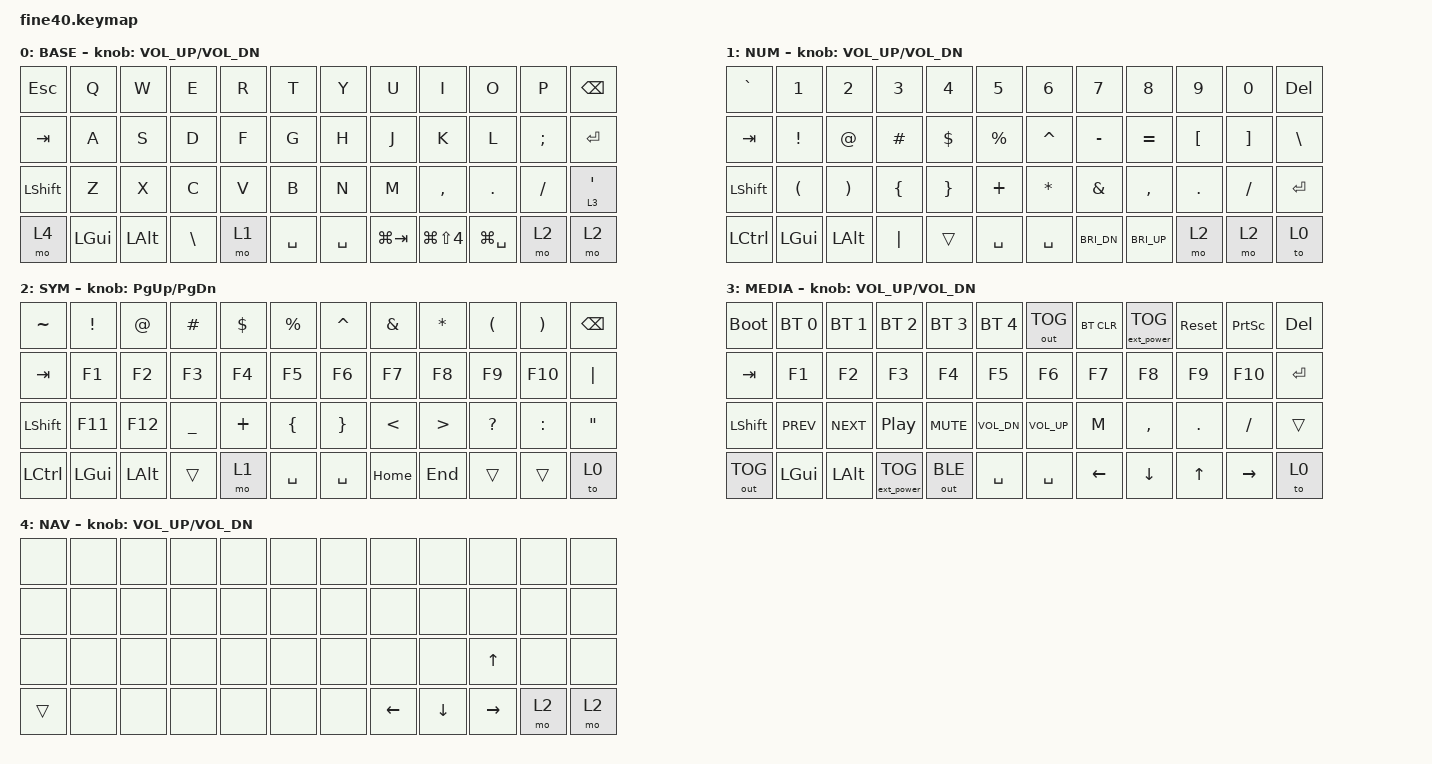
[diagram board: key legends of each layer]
/*
 * Aidan Smith (2021)
 * Enhanced for Mochi40 - FINAL PERFECT 10-KEY BOTTOM ROW MATRIX
 * SPDX-License-Identifier: MIT
 */

#include <behaviors.dtsi>
#include <dt-bindings/zmk/bt.h>
#include <dt-bindings/zmk/ext_power.h>
#include <dt-bindings/zmk/keys.h>
#include <dt-bindings/zmk/outputs.h>

/ {
    keymap {
        compatible = "zmk,keymap";

        default_layer {
            display-name = "BASE";
            bindings = <
&kp ESC    &kp Q     &kp W     &kp E      &kp R    &kp T      &kp Y          &kp U        &kp I            &kp O          &kp P     &kp BSPC
&kp TAB    &kp A     &kp S     &kp D      &kp F    &kp G      &kp H          &kp J        &kp K            &kp L          &kp SEMI  &kp RET
&kp LSHFT  &kp Z     &kp X     &kp C      &kp V    &kp B      &kp N          &kp M        &kp COMMA        &kp DOT        &kp FSLH  &lt 3 SQT
&mo 4      &kp LGUI  &kp LALT  &kp BSLH   &mo 1    &kp SPACE  &kp SPACE      &kp LG(TAB)  &kp LG(LS(N4))   &kp LG(SPACE)  &mo 2     &mo 2
            >;
            sensor-bindings = <&inc_dec_kp C_VOL_UP C_VOL_DN>;
        };

        lower_layer {
            display-name = "NUM";
            bindings = <
&kp GRAVE  &kp N1    &kp N2    &kp N3     &kp N4   &kp N5     &kp N6       &kp N7       &kp N8       &kp N9        &kp N0    &kp DEL
&kp TAB    &kp EXCL  &kp AT    &kp HASH   &kp DLLR &kp PRCNT  &kp CARET    &kp MINUS    &kp EQUAL    &kp LBKT      &kp RBKT  &kp BSLH
&kp LSHFT  &kp LPAR  &kp RPAR  &kp LBRC   &kp RBRC &kp PLUS   &kp STAR     &kp AMPS     &kp COMMA    &kp DOT       &kp FSLH  &kp RET
&kp LCTRL  &kp LGUI  &kp LALT  &kp PIPE   &trans   &kp SPACE  &kp SPACE    &kp C_BRI_DN &kp C_BRI_UP &mo 2         &mo 2     &to 0
            >;
            sensor-bindings = <&inc_dec_kp C_VOL_UP C_VOL_DN>;
        };

        raise_layer {
            display-name = "SYM";
            bindings = <
&kp TILDE   &kp EXCL  &kp AT    &kp HASH   &kp DLLR  &kp PRCNT  &kp CARET  &kp AMPS  &kp STAR   &kp LPAR   &kp RPAR  &kp BSPC
&kp TAB     &kp F1    &kp F2    &kp F3     &kp F4    &kp F5     &kp F6     &kp F7    &kp F8     &kp F9     &kp F10   &kp PIPE
&kp LSHFT   &kp F11   &kp F12   &kp UNDER  &kp PLUS  &kp LBRC   &kp RBRC   &kp LT    &kp GT     &kp QMARK  &kp COLON &kp DQT
&kp LCTRL   &kp LGUI  &kp LALT  &trans     &mo 1     &kp SPACE  &kp SPACE  &kp HOME  &kp END    &trans     &trans    &to 0
            >;
            sensor-bindings = <&inc_dec_kp PG_UP PG_DN>;
        };

        control_layer {
            display-name = "MEDIA";
            bindings = <
&bootloader   &bt BT_SEL 0  &bt BT_SEL 1  &bt BT_SEL 2       &bt BT_SEL 3  &bt BT_SEL 4  &out OUT_TOG &bt BT_CLR  &ext_power EP_TOG &sys_reset  &kp PSCRN &kp DEL
&kp TAB       &kp F1        &kp F2        &kp F3             &kp F4        &kp F5        &kp F6       &kp F7      &kp F8            &kp F9      &kp F10   &kp RET
&kp LSHFT     &kp C_PREV    &kp C_NEXT    &kp C_PP           &kp C_MUTE    &kp C_VOL_DN  &kp C_VOL_UP &kp M       &kp COMMA         &kp DOT     &kp FSLH  &trans
&out OUT_TOG  &kp LGUI      &kp LALT      &ext_power EP_TOG  &out OUT_BLE  &kp SPACE     &kp SPACE    &kp LEFT    &kp DOWN          &kp UP      &kp RIGHT &to 0
            >;
            sensor-bindings = <&inc_dec_kp C_VOL_UP C_VOL_DN>;
        };

        nav_layer {
            display-name = "NAV";
            bindings = <
&none   &none  &none  &none  &none  &none  &none  &none     &none     &none          &none  &none
&none   &none  &none  &none  &none  &none  &none  &none     &none     &none          &none  &none
&none   &none  &none  &none  &none  &none  &none  &none     &none     &kp UP         &none  &none
&trans  &none  &none  &none  &none  &none  &none  &kp LEFT  &kp DOWN  &kp RIGHT      &mo 2  &mo 2
            >;
            sensor-bindings = <&inc_dec_kp C_VOL_UP C_VOL_DN>;
        };
    };
};
